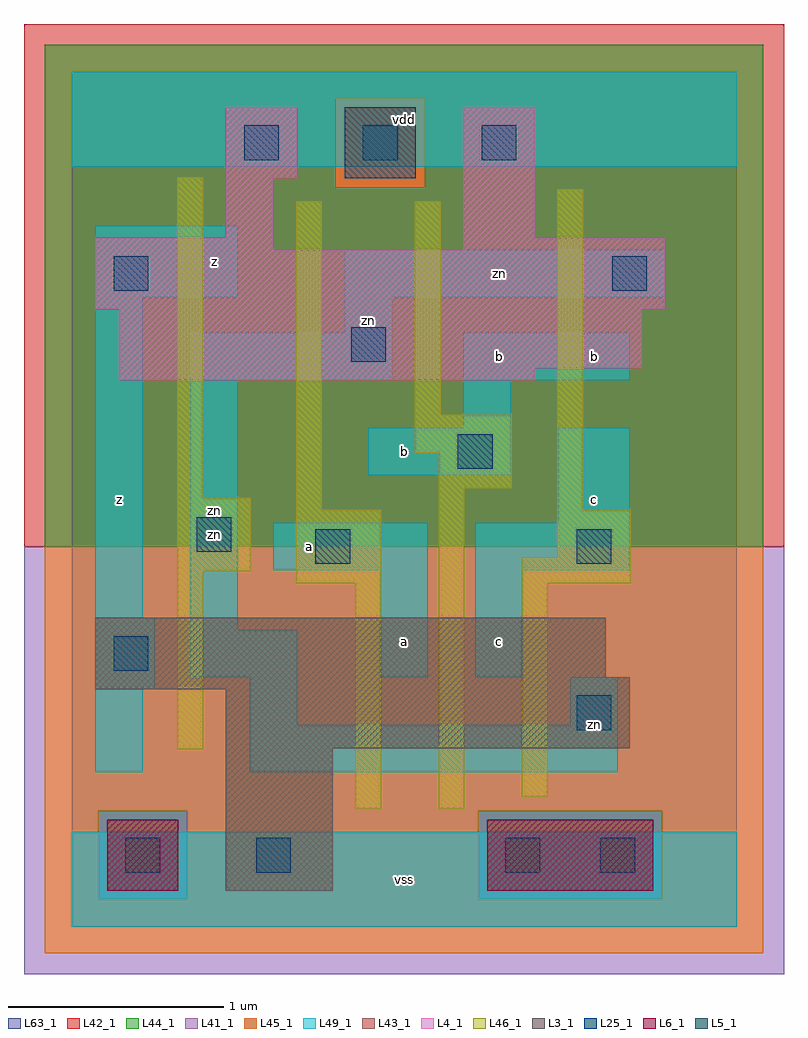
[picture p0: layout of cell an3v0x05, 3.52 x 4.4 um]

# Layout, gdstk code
import gdstk
lib = gdstk.Library(unit=1e-6, precision=1e-09)
def R(c, l, rs):  # rectangles x0, y0, x1, y1
    for r in rs: c.add(gdstk.rectangle(r[:2], r[2:], *l))
def A(c, l, x, y, w, h, nx, ny, dx, dy):  # array of equal rectangles
    R(c, l, [(x+i*dx, y+j*dy, x+i*dx+w, y+j*dy+h) for i in range(nx) for j in range(ny)])
L3_1 = (3, 1)
L4_1 = (4, 1)
L5_1 = (5, 1)
L6_1 = (6, 1)
L25_1 = (25, 1)
L41_1 = (41, 1)
L42_1 = (42, 1)
L43_1 = (43, 1)
L44_1 = (44, 1)
L45_1 = (45, 1)
L46_1 = (46, 1)
L49_1 = (49, 1)
L63_1 = (63, 1)

an3v0x05 = lib.new_cell('an3v0x05')
R(an3v0x05, L3_1, [(0.715,0.165,1.21,0.825), (0.715,0.825,2.585,1.1), (0.11,1.1,2.585,1.155), (0.11,1.155,2.475,1.43)])
R(an3v0x05, L4_1, [(0.22,2.53,2.145,2.585), (0.22,2.585,2.64,2.86), (0.11,2.86,2.75,3.135), (0.11,3.135,0.935,3.19), (1.815,3.135,2.75,3.19), (0.715,3.19,0.935,3.465), (1.815,3.19,2.145,3.795), (0.715,3.465,1.045,3.795)])
R(an3v0x05, L5_1, [(1.265,3.465,1.595,3.795)])
R(an3v0x05, L6_1, [(0.165,0.165,0.495,0.495), (1.925,0.165,2.695,0.495)])
A(an3v0x05, L25_1, 0.8, 3.55, 0.16, 0.16, 3, 1, 0.55, 0)
R(an3v0x05, L25_1, [(0.25,0.25,0.41,0.41), (0.855,0.25,1.015,0.41), (2.01,0.25,2.17,0.41), (2.45,0.25,2.61,0.41), (2.34,0.91,2.5,1.07), (0.195,1.185,0.355,1.345), (1.13,1.68,1.29,1.84), (2.34,1.68,2.5,1.84), (0.58,1.735,0.74,1.895), (1.79,2.12,1.95,2.28), (1.295,2.615,1.455,2.775), (0.195,2.945,0.355,3.105), (2.505,2.945,2.665,3.105)])
R(an3v0x05, L41_1, [(-0.22,-0.22,3.3,1.76)])
R(an3v0x05, L42_1, [(-0.22,1.76,3.3,4.18)])
R(an3v0x05, L43_1, [(0.165,0.165,0.495,0.495), (0.715,0.165,1.21,0.825), (1.925,0.165,2.695,0.495), (0.715,0.825,2.585,1.1), (0.11,1.1,2.585,1.155), (0.11,1.155,2.475,1.43), (0.22,2.53,2.145,2.585), (0.22,2.585,2.64,2.86), (0.11,2.86,2.75,3.135), (0.11,3.135,0.935,3.19), (1.815,3.135,2.75,3.19), (0.715,3.19,0.935,3.465), (1.815,3.19,2.145,3.795), (0.715,3.465,1.045,3.795), (1.265,3.465,1.595,3.795)])
R(an3v0x05, L44_1, [(0.125,0.125,0.535,0.535), (1.885,0.125,2.735,0.535), (-0.125,1.76,3.205,3.425), (-0.125,3.425,1.225,3.835), (1.635,3.425,3.205,3.835), (-0.125,3.835,3.205,4.085)])
R(an3v0x05, L45_1, [(-0.125,-0.125,3.205,0.125), (-0.125,0.125,0.125,0.535), (0.535,0.125,1.885,0.535), (2.735,0.125,3.205,0.535), (-0.125,0.535,3.205,1.76), (1.225,3.425,1.635,3.835)])
R(an3v0x05, L46_1, [(1.315,0.545,1.435,1.59), (1.7,0.545,1.82,2.03), (2.085,0.6,2.205,1.59), (0.49,0.82,0.61,1.645), (1.04,1.59,1.435,1.93), (2.085,1.59,2.59,1.71), (0.49,1.645,0.83,1.985), (2.25,1.71,2.59,1.93), (1.04,1.93,1.16,3.36), (2.25,1.93,2.37,3.415), (0.49,1.985,0.61,3.47), (1.7,2.03,2.04,2.195), (1.59,2.195,2.04,2.37), (1.59,2.37,1.71,3.36)])
R(an3v0x05, L49_1, [(0,0,3.08,0.44), (0.11,0.715,0.33,1.1), (0.825,0.715,2.53,0.935), (0.825,0.935,1.045,1.155), (2.31,0.935,2.53,1.155), (0.11,1.1,0.385,1.43), (0.55,1.155,1.045,1.375), (1.43,1.155,1.65,1.65), (1.87,1.155,2.09,1.65), (0.55,1.375,0.77,2.53), (0.11,1.43,0.33,2.915), (0.935,1.65,1.65,1.87), (1.87,1.65,2.585,1.87), (2.255,1.87,2.585,2.31), (1.375,2.09,2.035,2.31), (1.815,2.31,2.035,2.53), (0.55,2.53,1.485,2.75), (1.815,2.53,2.585,2.75), (1.265,2.75,1.485,2.915), (0.11,2.915,0.77,3.245), (1.265,2.915,2.75,3.135), (0,3.52,3.08,3.96)])
R(an3v0x05, L63_1, [(0,0,3.08,3.96)])
an3v0x05.add(gdstk.Label('zn', (0.66,1.815), layer=49, texttype=1))
an3v0x05.add(gdstk.Label('z', (0.22,1.98), layer=49, texttype=1))
an3v0x05.add(gdstk.Label('a', (1.1,1.76), layer=49, texttype=1))
an3v0x05.add(gdstk.Label('zn', (0.66,1.925), layer=49, texttype=1))
an3v0x05.add(gdstk.Label('zn', (1.375,2.805), layer=49, texttype=1))
an3v0x05.add(gdstk.Label('z', (0.66,3.08), layer=49, texttype=1))
an3v0x05.add(gdstk.Label('vss', (1.54,0.22), layer=49, texttype=1))
an3v0x05.add(gdstk.Label('a', (1.54,1.32), layer=49, texttype=1))
an3v0x05.add(gdstk.Label('c', (1.98,1.32), layer=49, texttype=1))
an3v0x05.add(gdstk.Label('b', (1.54,2.2), layer=49, texttype=1))
an3v0x05.add(gdstk.Label('b', (1.98,2.64), layer=49, texttype=1))
an3v0x05.add(gdstk.Label('vdd', (1.54,3.74), layer=49, texttype=1))
an3v0x05.add(gdstk.Label('zn', (2.42,0.935), layer=49, texttype=1))
an3v0x05.add(gdstk.Label('c', (2.42,1.98), layer=49, texttype=1))
an3v0x05.add(gdstk.Label('b', (2.42,2.64), layer=49, texttype=1))
an3v0x05.add(gdstk.Label('zn', (1.98,3.025), layer=49, texttype=1))

lib.write_gds('an3v0x05.gds')
